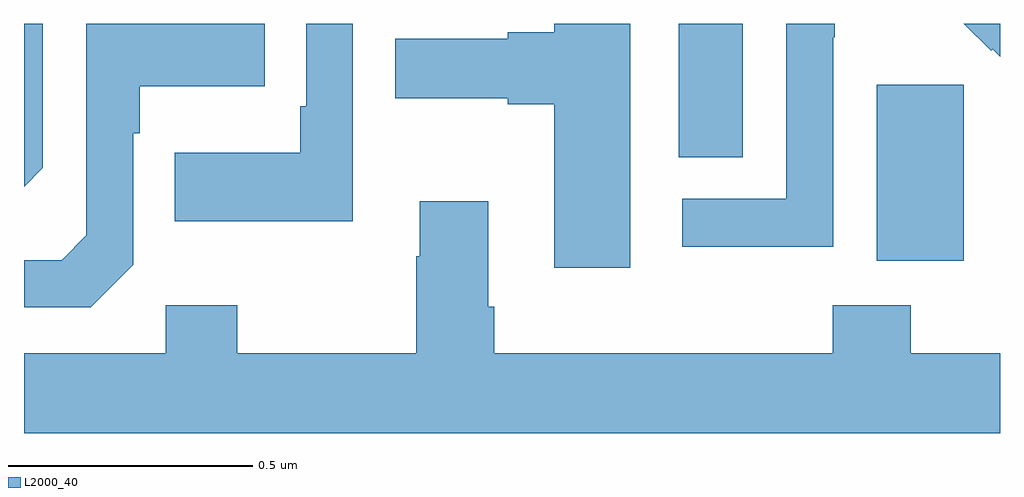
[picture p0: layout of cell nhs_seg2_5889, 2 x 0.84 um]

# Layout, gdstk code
import gdstk
lib = gdstk.Library(unit=1e-6, precision=1e-09)
def R(c, l, rs):  # rectangles x0, y0, x1, y1
    for r in rs: c.add(gdstk.rectangle(r[:2], r[2:], *l))
def P(c, l, *ps):  # polygons
    for p in ps: c.add(gdstk.Polygon(p, *l))
L2000_40 = (2000, 40)

nhs_seg2_5889 = lib.new_cell('nhs_seg2_5889')
R(nhs_seg2_5889, L2000_40, [(185.747,657.314,185.926,657.675), (185.342,657.526,185.473,657.8)])
P(nhs_seg2_5889, L2000_40, [(185.242,657.8),(185.087,657.8),(185.087,657.782),(184.991,657.782),(184.991,657.769),(184.761,657.769),(184.761,657.647),(184.991,657.647),(184.991,657.635),(185.087,657.635),(185.087,657.3),(185.242,657.3)],
  [(184.038,657.504),(184.038,657.8),(184,657.8),(184,657.466)],
  [(184.224,657.306),(184.224,657.575),(184.237,657.575),(184.237,657.671),(184.493,657.671),(184.493,657.8),(184.128,657.8),(184.128,657.366),(184.077,657.315),(184,657.315),(184,657.219),(184.137,657.219)],
  [(184.674,657.8),(184.578,657.8),(184.578,657.631),(184.566,657.631),(184.566,657.535),(184.309,657.535),(184.309,657.395),(184.674,657.395)],
  [(185.658,657.772),(185.661,657.772),(185.661,657.8),(185.562,657.8),(185.562,657.441),(185.349,657.441),(185.349,657.343),(185.658,657.343)],
  [(186,657.8),(185.926,657.8),(185.982,657.744),(185.985,657.747),(186,657.732)],
  [(186,657.124),(185.817,657.124),(185.817,657.223),(185.657,657.223),(185.657,657.124),(184.964,657.124),(184.964,657.22),(184.951,657.22),(184.951,657.436),(184.811,657.436),(184.811,657.323),(184.804,657.323),(184.804,657.124),(184.437,657.124),(184.437,657.223),(184.29,657.223),(184.29,657.124),(184,657.124),(184,656.96),(186,656.96)])

lib.write_gds('nhs_seg2_5889.gds')
